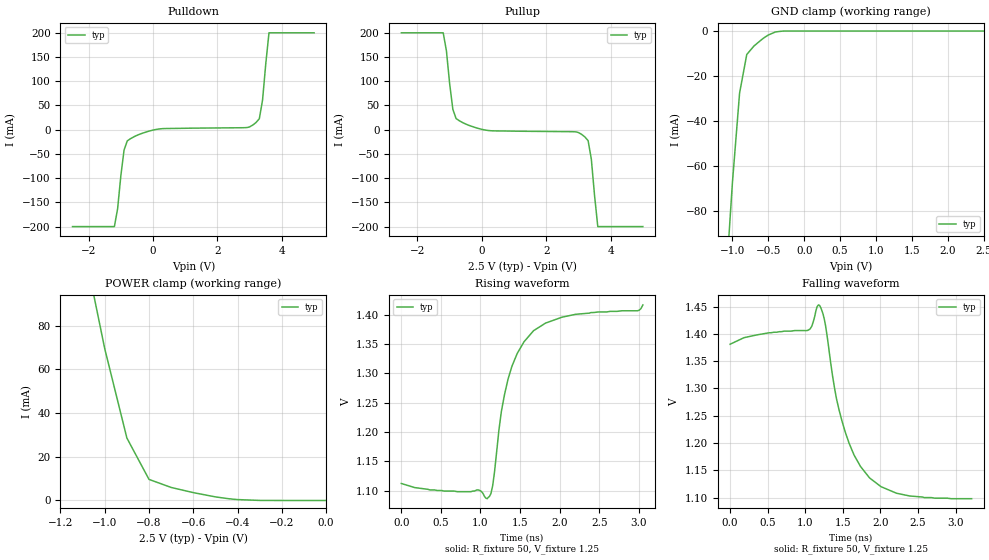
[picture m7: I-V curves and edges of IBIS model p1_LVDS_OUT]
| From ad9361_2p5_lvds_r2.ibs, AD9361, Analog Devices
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[model] p1_LVDS_OUT
Model_type 3-state
Polarity   Non-Inverting
Cref  =   3.000pF
Rref  =   5Ohm   | 100 Ohms Across Outputs P and N
Vref  =   1.2V   | Common Mode Voltage
Vmeas =   1.2V
C_comp 4pF NA NA
| variable   typ   min   max
[Voltage Range]   2.500V  NA   NA
[GND Clamp Reference]   0.000V  NA   NA
[POWER Clamp Reference] 2.500V  NA   NA
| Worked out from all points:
|   slope of the pulldown table from 0 to 0.375 V, typ, clamps not added: 120 ohm
|   slope of the pullup table from 0 to 0.375 V, typ, clamps not added: 120 ohm
|   GND clamp passes 1 mA (typ) near -0.44 V on its own axis
|   POWER clamp passes 1 mA (typ) near -0.45 V on its own axis
|   falling waveform, R_fixture 50, V_fixture 1.25: 20-80 % time 387ps typ, NA min, NA max; typ from 1.38 V to 1.1 V
|   rising waveform, R_fixture 50, V_fixture 1.25: 20-80 % time 353ps typ, NA min, NA max; typ from 1.11 V to 1.42 V
[GND Clamp]
| Voltage   I(typ)   I(min)  I(max)
-2.5V     -898mA     NA         NA
-1.1V     -116mA     NA         NA
-1V       -67.3mA    NA         NA
-900mV    -27.5mA    NA         NA
-800mV    -10.4mA    NA         NA
-700mV    -6.65mA    NA         NA
-500mV    -1.77mA    NA         NA
-400mV    -401uA     NA         NA
-300mV    -24.2uA    NA         NA
2.5V      925pA      NA         NA
[POWER Clamp]
| Note: the[POWER_clamp] voltage table is relative to Vcc
| and is calculated using Vtable = Vcc - Vmeasured.
| Voltage   I(typ)   I(min)  I(max)
-2.5V     903mA      NA         NA
-1.1V     119mA      NA         NA
-1V       69.5mA     NA         NA
-900mV    28.6mA     NA         NA
-800mV    9.65mA     NA         NA
-700mV    5.97mA     NA         NA
-600mV    3.6mA      NA         NA
-441mV    820uA      NA         NA
-300mV    32.4uA     NA         NA
0V        925pA      NA         NA
[Pulldown]
| Note: the[Pulldown] current is limited to 200mA
| Voltage   I(typ)   I(min)  I(max)
-2.5V     -200mA     NA         NA
-1.2V     -200mA     NA         NA
-1.1V     -163mA     NA         NA
-900mV    -42mA      NA         NA
-700mV    -18.5mA    NA         NA
200mV     1.64mA     NA         NA
2.9V      4.35mA     NA         NA
3.2V      15mA       NA         NA
3.3V      22.7mA     NA         NA
3.4V      61mA       NA         NA
3.6V      200mA      NA         NA
5V        200mA      NA         NA
[Pullup]
| Voltage   I(typ)   I(min)  I(max)
-2.5V     200mA      NA         NA
-1.2V     200mA      NA         NA
-1.1V     163mA      NA         NA
-900mV    42mA       NA         NA
-700mV    18.5mA     NA         NA
200mV     -1.64mA    NA         NA
2.9V      -4.35mA    NA         NA
3.2V      -15mA      NA         NA
3.3V      -22.7mA    NA         NA
3.4V      -61mA      NA         NA
3.6V      -200mA     NA         NA
5V        -200mA     NA         NA
[Ramp]
|   typ   min   max
dV/dt_r   1.625V/.082ns   NA   NA
dV/dt_f   1.625V/.082ns   NA   NA
R_load=50
[Falling Waveform]
R_fixture=50
V_fixture=1.25
| Time   V(typ)   V(min)  V(max)
0s        1.381V     NA         NA
1.042ns   1.407V     NA         NA
1.191ns   1.452V     NA         NA
1.27ns    1.415V     NA         NA
1.362ns   1.324V     NA         NA
1.449ns   1.261V     NA         NA
1.582ns   1.2V       NA         NA
1.735ns   1.157V     NA         NA
2.214ns   1.108V     NA         NA
3.214ns   1.098V     NA         NA
[Rising Waveform]
R_fixture=50
V_fixture=1.25
| Time   V(typ)   V(min)  V(max)
0s        1.112V     NA         NA
973.1ps   1.101V     NA         NA
1.085ns   1.086V     NA         NA
1.154ns   1.108V     NA         NA
1.264ns   1.235V     NA         NA
1.348ns   1.29V      NA         NA
1.55ns    1.354V     NA         NA
2.029ns   1.396V     NA         NA
2.985ns   1.407V     NA         NA
3.052ns   1.417V     NA         NA
